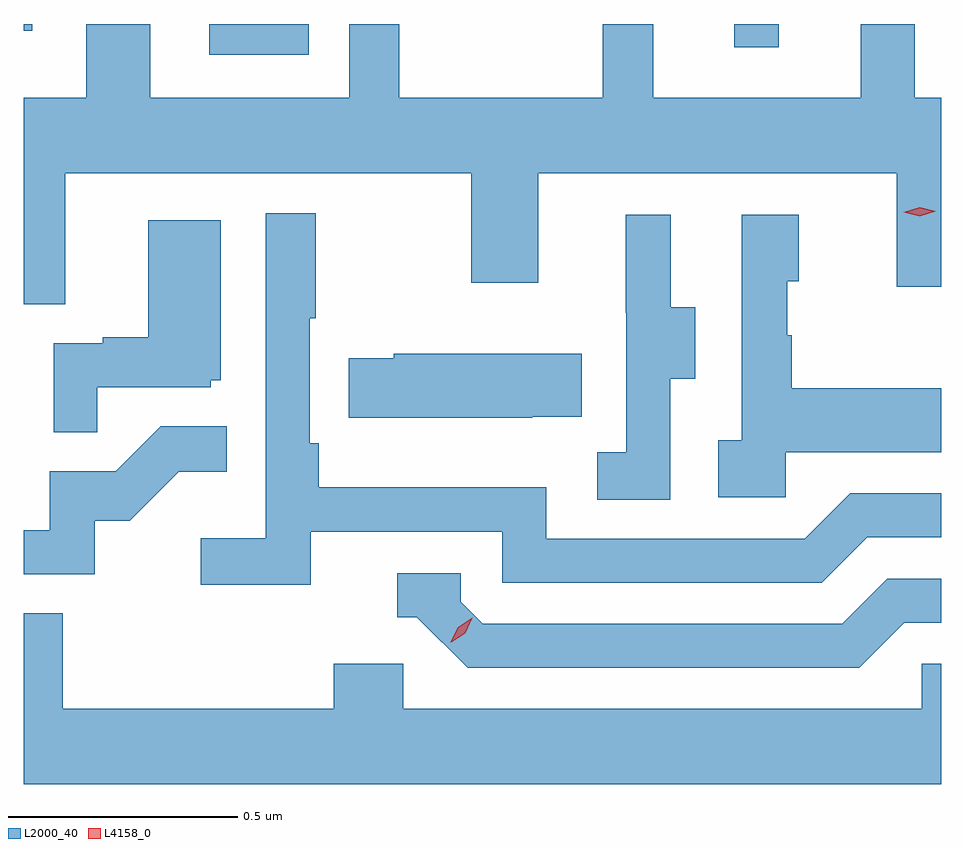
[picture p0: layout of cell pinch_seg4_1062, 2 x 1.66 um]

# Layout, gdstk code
import gdstk
lib = gdstk.Library(unit=1e-6, precision=1e-09)
def R(c, l, rs):  # rectangles x0, y0, x1, y1
    for r in rs: c.add(gdstk.rectangle(r[:2], r[2:], *l))
def P(c, l, *ps):  # polygons
    for p in ps: c.add(gdstk.Polygon(p, *l))
L2000_40 = (2000, 40)
L4158_0 = (4158, 0)

pinch_seg4_1062 = lib.new_cell('pinch_seg4_1062')
R(pinch_seg4_1062, L2000_40, [(806.391,763.778,806.608,763.845), (807.536,763.794,807.633,763.845), (805.987,763.83,806.005,763.845)])
P(pinch_seg4_1062, L2000_40, [(806.077,763.52),(806.962,763.52),(806.962,763.281),(807.109,763.281),(807.109,763.52),(807.89,763.52),(807.89,763.272),(807.987,763.272),(807.987,763.684),(807.929,763.684),(807.929,763.845),(807.812,763.845),(807.812,763.684),(807.359,763.684),(807.359,763.845),(807.249,763.845),(807.249,763.684),(806.806,763.684),(806.806,763.845),(806.697,763.845),(806.697,763.684),(806.263,763.684),(806.263,763.845),(806.123,763.845),(806.123,763.684),(805.987,763.684),(805.987,763.234),(806.077,763.234)],
  [(806.612,762.738),(807.03,762.738),(807.03,762.627),(807.727,762.627),(807.826,762.726),(807.987,762.726),(807.987,762.822),(807.789,762.822),(807.69,762.723),(807.126,762.723),(807.126,762.835),(806.63,762.835),(806.63,762.931),(806.61,762.931),(806.61,763.204),(806.623,763.204),(806.623,763.432),(806.514,763.432),(806.514,762.724),(806.373,762.724),(806.373,762.622),(806.612,762.622)],
  [(807.648,762.911),(807.987,762.911),(807.987,763.051),(807.661,763.051),(807.661,763.166),(807.651,763.166),(807.651,763.284),(807.676,763.284),(807.676,763.429),(807.552,763.429),(807.552,762.938),(807.501,762.938),(807.501,762.813),(807.648,762.813)],
  [(807.396,763.072),(807.451,763.072),(807.451,763.227),(807.397,763.227),(807.397,763.429),(807.299,763.429),(807.299,763.215),(807.3,763.215),(807.3,762.911),(807.237,762.911),(807.237,762.808),(807.396,762.808)],
  [(806.147,763.053),(806.394,763.053),(806.394,763.068),(806.416,763.068),(806.416,763.417),(806.258,763.417),(806.258,763.162),(806.159,763.162),(806.159,763.149),(806.052,763.149),(806.052,762.955),(806.147,762.955)],
  [(807.095,762.989),(807.203,762.989),(807.203,763.126),(806.793,763.126),(806.793,763.116),(806.695,763.116),(806.695,762.986),(807.095,762.986)],
  [(806.142,762.762),(806.218,762.762),(806.325,762.869),(806.429,762.869),(806.429,762.968),(806.285,762.968),(806.187,762.87),(806.043,762.87),(806.043,762.741),(805.987,762.741),(805.987,762.645),(806.142,762.645)],
  [(807.907,762.54),(807.987,762.54),(807.987,762.636),(807.87,762.636),(807.771,762.537),(806.988,762.537),(806.94,762.585),(806.94,762.648),(806.801,762.648),(806.801,762.552),(806.844,762.552),(806.955,762.441),(807.808,762.441)],
  [(807.987,762.45),(807.945,762.45),(807.945,762.352),(806.814,762.352),(806.814,762.45),(806.663,762.45),(806.663,762.352),(806.072,762.352),(806.072,762.56),(805.987,762.56),(805.987,762.188),(807.987,762.188)])
P(pinch_seg4_1062, L4158_0, [(807.94,763.426),(807.905,763.435),(807.904,763.435),(807.905,763.435),(807.94,763.446),(807.975,763.437),(807.975,763.437),(807.975,763.437)],
  [(806.918,762.497),(806.918,762.498),(806.934,762.53),(806.965,762.55),(806.965,762.55),(806.965,762.55),(806.949,762.517),(806.919,762.497)])

lib.write_gds('pinch_seg4_1062.gds')
